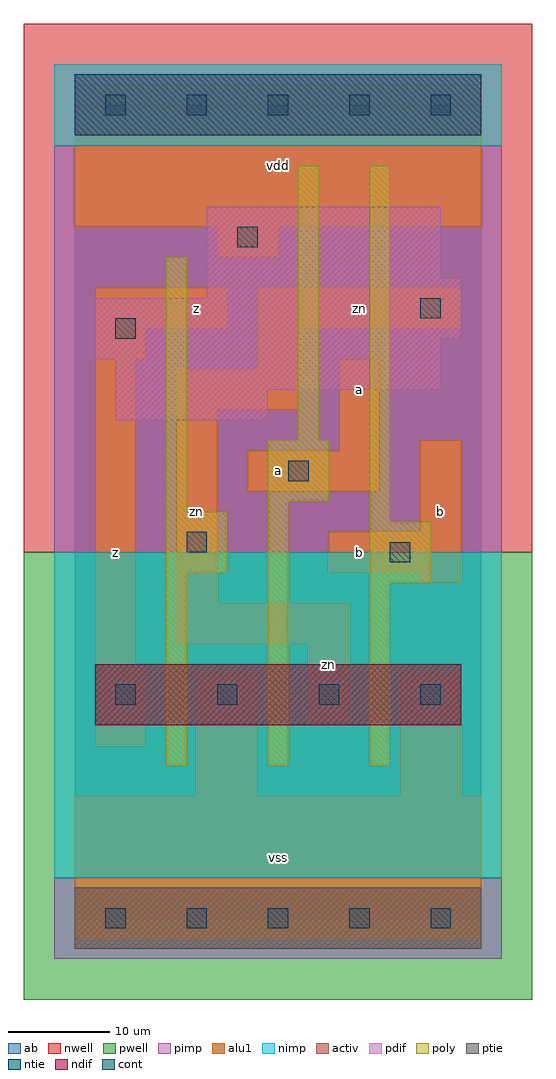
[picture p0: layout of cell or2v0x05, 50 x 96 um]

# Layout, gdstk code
import gdstk
lib = gdstk.Library(unit=1e-6, precision=1e-09)
def R(c, l, rs):  # rectangles x0, y0, x1, y1
    for r in rs: c.add(gdstk.rectangle(r[:2], r[2:], *l))
def A(c, l, x, y, w, h, nx, ny, dx, dy):  # array of equal rectangles
    R(c, l, [(x+i*dx, y+j*dy, x+i*dx+w, y+j*dy+h) for i in range(nx) for j in range(ny)])
ndif = (3, 0)
pdif = (4, 0)
ntie = (5, 0)
ptie = (6, 0)
cont = (25, 0)
pwell = (41, 0)
nwell = (42, 0)
activ = (43, 0)
pimp = (44, 0)
nimp = (45, 0)
poly = (46, 0)
alu1 = (49, 0)
ab = (63, 0)

or2v0x05 = lib.new_cell('or2v0x05')
R(or2v0x05, ndif, [(2,19,38,25)])
R(or2v0x05, pdif, [(4,49,19,52), (4,52,36,55), (2,55,36,57), (2,57,38,61), (13,61,38,63), (13,63,36,70)])
R(or2v0x05, ntie, [(0,77,40,83)])
R(or2v0x05, ptie, [(0,-3,40,3)])
A(or2v0x05, cont, 3, -1, 2, 2, 5, 2, 8, 80)
A(or2v0x05, cont, 4, 21, 2, 2, 4, 1, 10, 0)
R(or2v0x05, cont, [(31,35,33,37), (11,36,13,38), (21,43,23,45), (4,57,6,59), (34,59,36,61), (16,66,18,68)])
R(or2v0x05, pwell, [(-5,-8,45,36)])
R(or2v0x05, nwell, [(-5,36,45,88)])
R(or2v0x05, activ, [(0,-3,40,3), (2,19,38,25), (4,49,19,52), (4,52,36,55), (2,55,36,57), (2,57,38,61), (13,61,38,63), (13,63,36,70), (0,77,40,83)])
R(or2v0x05, pimp, [(-2,-4,42,4), (-2,36,42,76)])
R(or2v0x05, nimp, [(-2,4,42,36), (-2,76,42,84)])
R(or2v0x05, poly, [(9,15,11,34), (19,15,21,41), (29,15,31,33), (29,33,35,39), (9,34,15,40), (29,39,31,74), (9,40,11,65), (19,41,25,47), (22,47,24,74)])
R(or2v0x05, alu1, [(0,-2,40,12), (12,12,18,24), (32,12,38,24), (2,17,7,25), (23,19,27,27), (2,25,6,55), (10,27,27,31), (10,31,14,50), (34,33,38,34), (25,34,38,38), (34,38,38,47), (17,42,30,46), (26,46,30,55), (10,50,22,54), (18,54,22,58), (2,55,7,58), (2,58,15,62), (18,58,38,62), (14,65,20,68), (0,68,40,82)])
R(or2v0x05, ab, [(0,0,40,80)])
or2v0x05.add(gdstk.Label('zn', (12,40), layer=49, texttype=0))
or2v0x05.add(gdstk.Label('zn', (25,25), layer=49, texttype=0))
or2v0x05.add(gdstk.Label('zn', (28,60), layer=49, texttype=0))
or2v0x05.add(gdstk.Label('z', (4,36), layer=49, texttype=0))
or2v0x05.add(gdstk.Label('z', (12,60), layer=49, texttype=0))
or2v0x05.add(gdstk.Label('vss', (20,6), layer=49, texttype=0))
or2v0x05.add(gdstk.Label('b', (28,36), layer=49, texttype=0))
or2v0x05.add(gdstk.Label('a', (20,44), layer=49, texttype=0))
or2v0x05.add(gdstk.Label('a', (28,52), layer=49, texttype=0))
or2v0x05.add(gdstk.Label('vdd', (20,74), layer=49, texttype=0))
or2v0x05.add(gdstk.Label('b', (36,40), layer=49, texttype=0))

lib.write_gds('or2v0x05.gds')
